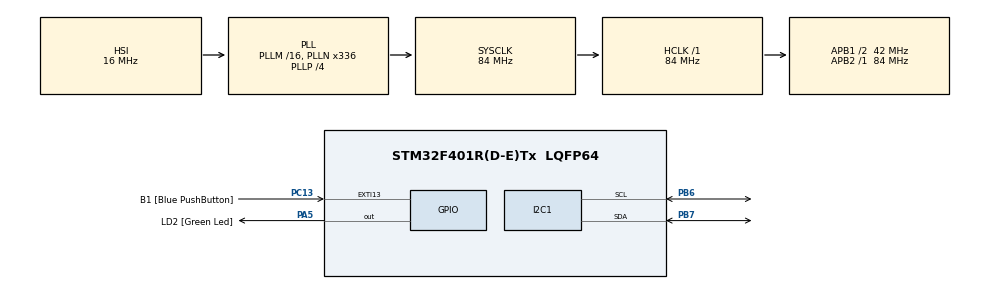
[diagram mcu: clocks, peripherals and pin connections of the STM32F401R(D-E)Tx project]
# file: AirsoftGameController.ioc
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Dma.I2C1_RX.0.Direction=DMA_PERIPH_TO_MEMORY
Dma.I2C1_RX.0.FIFOMode=DMA_FIFOMODE_ENABLE
Dma.I2C1_RX.0.FIFOThreshold=DMA_FIFO_THRESHOLD_FULL
Dma.I2C1_RX.0.Instance=DMA1_Stream0
Dma.I2C1_RX.0.MemBurst=DMA_MBURST_SINGLE
Dma.I2C1_RX.0.MemDataAlignment=DMA_MDATAALIGN_BYTE
Dma.I2C1_RX.0.MemInc=DMA_MINC_ENABLE
Dma.I2C1_RX.0.Mode=DMA_NORMAL
Dma.I2C1_RX.0.PeriphBurst=DMA_PBURST_SINGLE
Dma.I2C1_RX.0.PeriphDataAlignment=DMA_PDATAALIGN_BYTE
Dma.I2C1_RX.0.PeriphInc=DMA_PINC_DISABLE
Dma.I2C1_RX.0.Priority=DMA_PRIORITY_LOW
Dma.I2C1_TX.1.Direction=DMA_MEMORY_TO_PERIPH
Dma.I2C1_TX.1.FIFOMode=DMA_FIFOMODE_ENABLE
Dma.I2C1_TX.1.FIFOThreshold=DMA_FIFO_THRESHOLD_FULL
Dma.I2C1_TX.1.Instance=DMA1_Stream6
Dma.I2C1_TX.1.MemBurst=DMA_MBURST_SINGLE
Dma.I2C1_TX.1.MemDataAlignment=DMA_MDATAALIGN_BYTE
Dma.I2C1_TX.1.MemInc=DMA_MINC_ENABLE
Dma.I2C1_TX.1.Mode=DMA_NORMAL
Dma.I2C1_TX.1.PeriphBurst=DMA_PBURST_SINGLE
Dma.I2C1_TX.1.PeriphDataAlignment=DMA_PDATAALIGN_BYTE
Dma.I2C1_TX.1.PeriphInc=DMA_PINC_DISABLE
Dma.I2C1_TX.1.Priority=DMA_PRIORITY_LOW
Dma.Request0=I2C1_RX
Dma.Request1=I2C1_TX
Mcu.Family=STM32F4
Mcu.Name=STM32F401R(D-E)Tx
Mcu.Package=LQFP64
NVIC.DMA1_Stream0_IRQn=true\:0\:0\:false\:false\:true\:false\:true\:true
NVIC.DMA1_Stream6_IRQn=true\:0\:0\:false\:false\:true\:false\:true\:true
NVIC.EXTI15_10_IRQn=true\:0\:0\:false\:false\:true\:true\:true\:true
NVIC.I2C1_ER_IRQn=true\:0\:0\:false\:false\:true\:true\:true\:true
NVIC.I2C1_EV_IRQn=true\:0\:0\:false\:false\:true\:true\:true\:true
NVIC.PriorityGroup=NVIC_PRIORITYGROUP_0
NVIC.TIM1_UP_TIM10_IRQn=true\:0\:0\:false\:false\:true\:true\:true\:true
PA13.GPIO_Label=TMS
PA13.Mode=Serial_Wire
PA13.Signal=SYS_JTMS-SWDIO
PA14.GPIO_Label=TCK
PA14.Mode=Serial_Wire
PA14.Signal=SYS_JTCK-SWCLK
PA2.GPIO_Label=USART_TX
PA2.GPIO_Mode=GPIO_MODE_AF_PP
PA2.GPIO_PuPd=GPIO_NOPULL
PA2.GPIO_Speed=GPIO_SPEED_FREQ_LOW
PA2.Signal=USART2_TX
PA3.GPIO_Label=USART_RX
PA3.GPIO_Mode=GPIO_MODE_AF_PP
PA3.GPIO_PuPd=GPIO_NOPULL
PA3.GPIO_Speed=GPIO_SPEED_FREQ_LOW
PA3.Signal=USART2_RX
PA5.GPIO_Label=LD2 [Green Led]
PA5.GPIO_Mode=GPIO_MODE_OUTPUT_PP
PA5.GPIO_PuPd=GPIO_NOPULL
PA5.GPIO_Speed=GPIO_SPEED_FREQ_LOW
PA5.Signal=GPIO_Output
PB3.GPIO_Label=SWO
PB3.Signal=SYS_JTDO-SWO
PB6.GPIO_Pu=GPIO_PULLUP
PB6.Mode=I2C
PB6.Signal=I2C1_SCL
PB7.GPIO_Pu=GPIO_PULLUP
PB7.Mode=I2C
PB7.Signal=I2C1_SDA
PC13-ANTI_TAMP.GPIO_Label=B1 [Blue PushButton]
PC13-ANTI_TAMP.GPIO_ModeDefaultEXTI=GPIO_MODE_IT_FALLING
PC13-ANTI_TAMP.GPIO_PuPd=GPIO_NOPULL
PC13-ANTI_TAMP.Signal=GPXTI13
PC14-OSC32_IN.Mode=LSE-External-Oscillator
PC14-OSC32_IN.Signal=RCC_OSC32_IN
PC15-OSC32_OUT.Mode=LSE-External-Oscillator
PC15-OSC32_OUT.Signal=RCC_OSC32_OUT
PH0\ -\ OSC_IN.Mode=HSE-External-Clock-Source
PH0\ -\ OSC_IN.Signal=RCC_OSC_IN
PH1\ -\ OSC_OUT.Mode=HSE-External-Clock-Source
PH1\ -\ OSC_OUT.Signal=RCC_OSC_OUT
ProjectManager.HeapSize=0x200
ProjectManager.StackSize=0x400
ProjectManager.TargetToolchain=STM32CubeIDE
RCC.48MHZClocksFreq_Value=48000000
RCC.AHBFreq_Value=84000000
RCC.APB1CLKDivider=RCC_HCLK_DIV2
RCC.APB1Freq_Value=42000000
RCC.APB1TimFreq_Value=84000000
RCC.APB2Freq_Value=84000000
RCC.APB2TimFreq_Value=84000000
RCC.CortexFreq_Value=84000000
RCC.HCLKFreq_Value=84000000
RCC.HSE_VALUE=8000000
RCC.HSI_VALUE=16000000
RCC.PLLN=336
RCC.PLLP=RCC_PLLP_DIV4
RCC.PLLQ=7
RCC.SYSCLKFreq_VALUE=84000000
RCC.SYSCLKSource=RCC_SYSCLKSOURCE_PLLCLK
RCC.VCOOutputFreq_Value=336000000
TIM10.Period=999
TIM10.Prescaler=83
VP_RTC_VS_RTC_Activate.Mode=RTC_Enabled
VP_TIM10_VS_ClockSourceINT.Mode=Enable_Timer
board=NUCLEO-F401RE

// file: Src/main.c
/* USER CODE BEGIN Header */
/**
  ******************************************************************************
  * @file           : main.c
  * @brief          : Main program body
  ******************************************************************************
  * @attention
  *
  * <h2><center>&copy; Copyright (c) 2020 STMicroelectronics.
  * All rights reserved.</center></h2>
  *
  * This software component is licensed by ST under BSD 3-Clause license,
  * the "License"; You may not use this file except in compliance with the
  * License. You may obtain a copy of the License at:
  *                        opensource.org/licenses/BSD-3-Clause
  *
  ******************************************************************************
  */
/* USER CODE END Header */
#include "main.h"
#include "dma.h"
#include "i2c.h"
#include "rtc.h"
#include "tim.h"
#include "gpio.h"

/* USER CODE BEGIN Includes */
#include "CppWrapper.h"
/* USER CODE END Includes */

void SystemClock_Config(void);

/* USER CODE BEGIN 0 */
void HAL_TIM_PeriodElapsedCallback(TIM_HandleTypeDef *htim)
{
  cppWrapperTimCallback(htim);
}

void HAL_GPIO_EXTI_Callback(uint16_t GPIO_Pin)
{
	cppWrapperExtiCallback(GPIO_Pin);
}

void HAL_I2C_MasterTxCpltCallback(I2C_HandleTypeDef *hi2c)
{
	cppWrapperI2cCpltCallback(hi2c,
	                          0U);
}

void HAL_I2C_MasterRxCpltCallback(I2C_HandleTypeDef *hi2c)
{
	cppWrapperI2cCpltCallback(hi2c,
	                          0U);
}

void HAL_I2C_MemTxCpltCallback(I2C_HandleTypeDef *hi2c)
{
	cppWrapperI2cCpltCallback(hi2c,
	                          0U);
}

void HAL_I2C_MemRxCpltCallback(I2C_HandleTypeDef *hi2c)
{
	cppWrapperI2cCpltCallback(hi2c,
	                          0U);
}

void HAL_I2C_ErrorCallback(I2C_HandleTypeDef *hi2c)
{
	cppWrapperI2cCpltCallback(hi2c,
	                          1U);
}

void HAL_I2C_AbortCpltCallback(I2C_HandleTypeDef *hi2c)
{
	cppWrapperI2cCpltCallback(hi2c,
	                          2U);
}
/* USER CODE END 0 */

int main(void)
{

	/* MCU Configuration--------------------------------------------------------*/

	/* Reset of all peripherals, Initializes the Flash interface and the Systick. */
	HAL_Init();

	/* USER CODE BEGIN Init */
	HAL_RCC_DeInit();
	/* USER CODE END Init */

	/* Configure the system clock */
	SystemClock_Config();

	/* Initialize all configured peripherals */
	MX_GPIO_Init();
	MX_DMA_Init();
	MX_TIM10_Init();
	MX_I2C1_Init();
	MX_RTC_Init();
	/* USER CODE BEGIN 2 */
	cppWrapperInit();
	cppWrapperMain();
	/* USER CODE END 2 */

	/* Infinite loop */
	/* USER CODE BEGIN WHILE */
	while (1)
	{
		break;
		/* USER CODE END WHILE */

	}
}

void SystemClock_Config(void)
{
	RCC_OscInitTypeDef RCC_OscInitStruct = {0};
	RCC_ClkInitTypeDef RCC_ClkInitStruct = {0};

	/** Configure the main internal regulator output voltage
	*/
	__HAL_RCC_PWR_CLK_ENABLE();
	__HAL_PWR_VOLTAGESCALING_CONFIG(PWR_REGULATOR_VOLTAGE_SCALE2);

	/** Initializes the RCC Oscillators according to the specified parameters
	* in the RCC_OscInitTypeDef structure.
	*/
	RCC_OscInitStruct.OscillatorType = RCC_OSCILLATORTYPE_HSI | RCC_OSCILLATORTYPE_LSI;
	RCC_OscInitStruct.HSIState = RCC_HSI_ON;
	RCC_OscInitStruct.HSICalibrationValue = RCC_HSICALIBRATION_DEFAULT;
	RCC_OscInitStruct.LSIState = RCC_LSI_ON;
	RCC_OscInitStruct.PLL.PLLState = RCC_PLL_ON;
	RCC_OscInitStruct.PLL.PLLSource = RCC_PLLSOURCE_HSI;
	RCC_OscInitStruct.PLL.PLLM = 16;
	RCC_OscInitStruct.PLL.PLLN = 336;
	RCC_OscInitStruct.PLL.PLLP = RCC_PLLP_DIV4;
	RCC_OscInitStruct.PLL.PLLQ = 7;
	if (HAL_RCC_OscConfig(&RCC_OscInitStruct) != HAL_OK)
	{
		Error_Handler();
	}

	/** Initializes the CPU, AHB and APB buses clocks
	*/
	RCC_ClkInitStruct.ClockType = RCC_CLOCKTYPE_HCLK | RCC_CLOCKTYPE_SYSCLK
	                              | RCC_CLOCKTYPE_PCLK1 | RCC_CLOCKTYPE_PCLK2;
	RCC_ClkInitStruct.SYSCLKSource = RCC_SYSCLKSOURCE_PLLCLK;
	RCC_ClkInitStruct.AHBCLKDivider = RCC_SYSCLK_DIV1;
	RCC_ClkInitStruct.APB1CLKDivider = RCC_HCLK_DIV2;
	RCC_ClkInitStruct.APB2CLKDivider = RCC_HCLK_DIV1;

	if (HAL_RCC_ClockConfig(&RCC_ClkInitStruct, FLASH_LATENCY_2) != HAL_OK)
	{
		Error_Handler();
	}
}

void Error_Handler(void)
{
}
